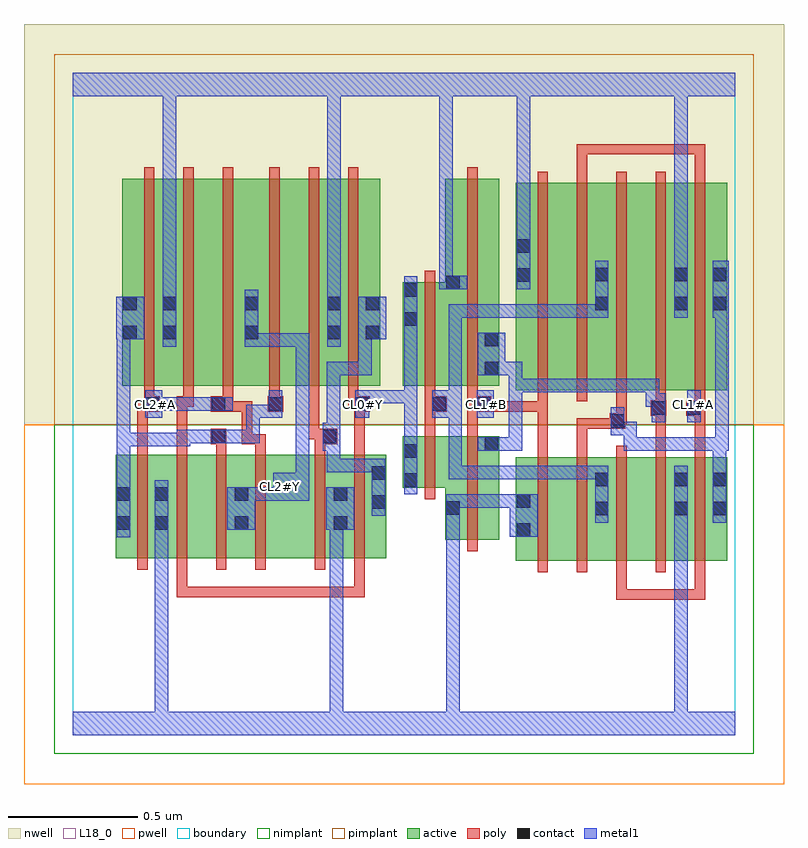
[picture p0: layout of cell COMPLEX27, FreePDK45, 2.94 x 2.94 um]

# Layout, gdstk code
import gdstk
lib = gdstk.Library(unit=1e-6, precision=1e-09)
def R(c, l, rs):  # rectangles x0, y0, x1, y1
    for r in rs: c.add(gdstk.rectangle(r[:2], r[2:], *l))
def A(c, l, x, y, w, h, nx, ny, dx, dy):  # array of equal rectangles
    R(c, l, [(x+i*dx, y+j*dy, x+i*dx+w, y+j*dy+h) for i in range(nx) for j in range(ny)])
active = (1, 0)
pwell = (2, 0)
nwell = (3, 0)
nimplant = (4, 0)
pimplant = (5, 0)
poly = (9, 0)
contact = (10, 0)
metal1 = (11, 0)
L18_0 = (18, 0)
boundary = (235, 0)

complex27 = lib.new_cell('COMPLEX27')
R(complex27, active, [(1.712,0.674,1.892,1.074), (1.892,0.674,2.074,1.074), (2.014,0.674,2.196,1.074), (2.196,0.674,2.38,1.074), (2.32,0.674,2.528,1.074), (0.166,0.684,0.374,1.084), (0.314,0.684,0.498,1.084), (0.498,0.684,0.682,1.084), (0.622,0.684,0.802,1.084), (0.802,0.684,1.064,1.084), (1.004,0.684,1.212,1.084), (0.166,0.756,0.226,1.084), (0.314,0.756,0.374,0.962), (0.622,0.756,0.682,0.962), (1.004,0.756,1.064,0.962), (1.152,0.756,1.212,1.084), (1.44,0.756,1.648,1.156), (1.44,0.756,1.5,0.956), (1.588,0.756,1.648,1.156), (1.712,0.756,1.772,0.948), (2.014,0.756,2.074,1.018), (2.32,0.756,2.38,1.018), (2.468,0.756,2.528,1.074), (1.276,0.956,1.336,1.156), (1.276,0.956,1.5,1.156), (1.712,1.334,1.892,2.134), (1.892,1.334,2.074,2.134), (2.014,1.334,2.074,2.044), (2.014,1.334,2.196,2.134), (2.196,1.334,2.38,2.134), (2.32,1.334,2.38,2.044), (2.32,1.334,2.528,2.134), (2.468,1.334,2.528,2.044), (0.192,1.35,0.252,2.044), (0.192,1.35,0.404,2.15), (0.344,1.35,0.524,2.15), (0.344,1.35,0.404,2.044), (0.524,1.35,0.72,2.15), (0.66,1.35,0.72,2.044), (0.66,1.35,0.856,2.15), (0.856,1.35,1.04,2.15), (0.98,1.35,1.188,2.15), (0.98,1.35,1.04,2.044), (1.128,1.35,1.188,2.044), (1.276,1.35,1.336,1.75), (1.276,1.35,1.5,1.75), (1.44,1.35,1.648,2.15), (1.44,1.35,1.5,1.78), (1.588,1.35,1.648,2.044), (1.712,1.452,1.772,2.044)])
R(complex27, pwell, [(-0.188,-0.188,2.748,1.2)])
R(complex27, nwell, [(-0.188,1.2,2.748,2.748)])
R(complex27, nimplant, [(-0.072,-0.072,2.632,1.2)])
R(complex27, pimplant, [(-0.072,1.2,2.632,2.632)])
A(complex27, poly, 1.796, 0.63, 0.04, 0.488, 5, 1, 0.152, 0)
A(complex27, poly, 0.25, 0.64, 0.04, 0.488, 4, 1, 0.152, 0)
A(complex27, poly, 0.276, 1.27, 0.04, 0.076, 3, 1, 0.152, 0)
A(complex27, poly, 1.796, 1.29, 0.04, 0.888, 5, 1, 0.152, 0)
A(complex27, poly, 0.276, 1.306, 0.04, 0.888, 3, 1, 0.152, 0)
A(complex27, poly, 0.76, 1.306, 0.04, 0.888, 3, 1, 0.152, 0)
R(complex27, poly, [(2.1,0.524,2.14,0.67), (2.1,0.524,2.14,0.564), (2.1,0.524,2.246,0.564), (2.206,0.524,2.246,0.564), (2.206,0.524,2.246,0.564), (2.206,0.524,2.246,0.564), (2.206,0.524,2.444,0.564), (2.404,0.524,2.444,0.67), (2.404,0.524,2.444,0.564), (2.404,0.524,2.444,0.564), (2.404,0.524,2.444,0.564), (0.402,0.534,0.442,0.68), (0.402,0.534,0.442,0.574), (0.402,0.534,0.442,0.574), (0.402,0.534,0.442,0.574), (0.402,0.534,0.62,0.574), (0.58,0.534,0.62,0.574), (0.58,0.534,0.726,0.574), (0.686,0.534,0.726,0.574), (0.686,0.534,0.726,0.574), (0.686,0.534,0.726,0.574), (0.686,0.534,0.832,0.574), (0.792,0.534,0.832,0.574), (0.792,0.534,0.832,0.574), (0.792,0.534,0.832,0.574), (0.792,0.534,1.128,0.574), (1.088,0.534,1.128,0.68), (1.088,0.534,1.128,0.574), (1.088,0.534,1.128,0.574), (1.088,0.534,1.128,0.574), (0.936,0.64,0.976,1.128), (1.088,0.64,1.128,1.128), (1.524,0.712,1.564,1.2), (1.36,0.912,1.4,1.2), (1.796,1.078,1.836,1.29), (1.948,1.078,1.988,1.224), (2.252,1.078,2.292,1.274), (2.404,1.078,2.444,1.274), (0.25,1.088,0.29,1.29), (0.402,1.088,0.442,1.31), (0.554,1.088,0.594,1.164), (0.706,1.088,0.746,1.164), (0.936,1.088,0.976,1.164), (1.088,1.088,1.128,1.29), (0.534,1.124,0.594,1.184), (0.654,1.124,0.694,1.164), (0.654,1.124,0.746,1.164), (0.654,1.124,0.694,1.29), (0.706,1.124,0.746,1.164), (0.936,1.124,1.022,1.184), (0.912,1.144,0.976,1.184), (0.912,1.144,0.952,1.346), (0.936,1.144,0.976,1.184), (1.36,1.16,1.4,1.29), (1.524,1.16,1.564,1.29), (1.948,1.184,1.988,1.224), (1.948,1.184,2.094,1.224), (2.054,1.184,2.094,1.224), (2.054,1.184,2.114,1.224), (2.074,1.184,2.134,1.244), (2.094,1.204,2.134,1.244), (2.094,1.204,2.14,1.244), (2.1,1.204,2.14,1.33), (2.234,1.234,2.294,1.294), (2.252,1.234,2.292,1.274), (2.252,1.234,2.292,1.274), (2.37,1.234,2.444,1.294), (2.404,1.234,2.444,1.274), (2.404,1.234,2.444,1.274), (0.25,1.25,0.316,1.29), (0.276,1.25,0.316,1.29), (0.276,1.25,0.336,1.31), (0.534,1.25,0.62,1.31), (0.58,1.25,0.694,1.29), (0.654,1.25,0.694,1.29), (0.754,1.25,0.814,1.31), (1.088,1.25,1.148,1.31), (1.36,1.25,1.446,1.31), (1.524,1.25,1.618,1.31), (1.578,1.25,1.618,1.29), (1.578,1.25,1.618,1.29), (1.578,1.25,1.836,1.29), (1.796,1.25,1.836,1.29), (1.796,1.25,1.836,1.29), (1.796,1.25,1.836,1.29), (1.796,1.25,1.836,1.29), (1.796,1.25,1.836,1.29), (1.796,1.25,1.836,1.33), (2.252,1.254,2.292,1.33), (2.404,1.254,2.444,1.33), (0.402,1.27,0.468,1.31), (0.428,1.27,0.468,1.31), (0.428,1.27,0.468,1.31), (0.76,1.27,0.8,1.346), (1.064,1.27,1.104,1.346), (1.064,1.27,1.128,1.31), (1.088,1.27,1.128,1.31), (1.36,1.27,1.4,1.31), (1.36,1.27,1.4,1.31), (1.36,1.27,1.4,1.346), (1.524,1.27,1.564,1.31), (1.524,1.27,1.564,1.31), (1.524,1.27,1.564,1.346), (1.36,1.306,1.4,1.794), (1.524,1.306,1.564,2.194), (1.948,2.138,1.988,2.284), (2.404,2.138,2.444,2.284), (1.948,2.244,1.988,2.284), (1.948,2.244,2.094,2.284), (2.054,2.244,2.094,2.284), (2.054,2.244,2.094,2.284), (2.054,2.244,2.094,2.284), (2.054,2.244,2.304,2.284), (2.264,2.244,2.304,2.284), (2.264,2.244,2.304,2.284), (2.264,2.244,2.304,2.284), (2.264,2.244,2.444,2.284), (2.404,2.244,2.444,2.284), (2.404,2.244,2.444,2.284), (2.404,2.244,2.444,2.284)])
R(complex27, contact, [(1.716,0.768,1.768,0.82), (0.17,0.794,0.222,0.846), (0.318,0.794,0.37,0.846), (0.626,0.794,0.678,0.846), (1.008,0.794,1.06,0.846), (2.018,0.85,2.07,0.902), (2.324,0.85,2.376,0.902), (2.472,0.85,2.524,0.902), (1.444,0.852,1.496,0.904), (1.156,0.876,1.208,0.928), (1.716,0.88,1.768,0.932), (0.17,0.906,0.222,0.958), (0.318,0.906,0.37,0.958), (0.626,0.906,0.678,0.958), (1.008,0.906,1.06,0.958), (1.28,0.96,1.332,1.012), (2.018,0.962,2.07,1.014), (2.324,0.962,2.376,1.014), (2.472,0.962,2.524,1.014), (1.156,0.988,1.208,1.04), (1.28,1.072,1.332,1.124), (1.592,1.1,1.644,1.152), (0.538,1.128,0.59,1.18), (0.966,1.128,1.018,1.18), (2.078,1.188,2.13,1.24), (2.238,1.238,2.29,1.29), (2.374,1.238,2.426,1.29), (0.28,1.254,0.332,1.306), (0.538,1.254,0.59,1.306), (0.758,1.254,0.81,1.306), (1.092,1.254,1.144,1.306), (1.39,1.254,1.442,1.306), (1.562,1.254,1.614,1.306), (1.592,1.392,1.644,1.444), (1.592,1.504,1.644,1.556), (0.196,1.53,0.248,1.582), (0.348,1.53,0.4,1.582), (0.664,1.53,0.716,1.582), (0.984,1.53,1.036,1.582), (1.132,1.53,1.184,1.582), (1.28,1.582,1.332,1.634), (0.196,1.642,0.248,1.694), (0.348,1.642,0.4,1.694), (0.664,1.642,0.716,1.694), (0.984,1.642,1.036,1.694), (1.132,1.642,1.184,1.694), (2.018,1.642,2.07,1.694), (2.324,1.642,2.376,1.694), (2.472,1.642,2.524,1.694), (1.28,1.694,1.332,1.746), (1.444,1.724,1.496,1.776), (1.716,1.752,1.768,1.804), (2.018,1.754,2.07,1.806), (2.324,1.754,2.376,1.806), (2.472,1.754,2.524,1.806), (1.716,1.864,1.768,1.916)])
R(complex27, metal1, [(0,0,2.56,0.092), (0.318,0.04,0.37,0.818), (0.994,0.04,1.046,0.092), (0.994,0.04,1.046,0.092), (0.994,0.04,1.046,0.092), (0.994,0.04,1.046,0.092), (0.994,0.04,1.046,0.092), (0.994,0.04,1.046,0.092), (0.994,0.04,1.046,0.092), (0.994,0.04,1.046,0.092), (0.994,0.04,1.046,0.092), (0.994,0.04,1.046,0.092), (0.994,0.04,1.046,0.092), (0.994,0.04,1.046,0.092), (0.994,0.04,1.046,0.846), (1.444,0.04,1.496,0.092), (1.444,0.04,1.496,0.092), (1.444,0.04,1.496,0.092), (1.444,0.04,1.496,0.092), (1.444,0.04,1.496,0.092), (1.444,0.04,1.496,0.092), (1.444,0.04,1.496,0.092), (1.444,0.04,1.496,0.092), (1.444,0.04,1.496,0.092), (1.444,0.04,1.496,0.092), (1.444,0.04,1.496,0.876), (2.324,0.04,2.376,0.092), (2.324,0.04,2.376,0.092), (2.324,0.04,2.376,0.092), (2.324,0.04,2.376,0.092), (2.324,0.04,2.376,0.092), (2.324,0.04,2.376,0.092), (2.324,0.04,2.376,0.092), (2.324,0.04,2.376,0.092), (2.324,0.04,2.376,0.874), (0.17,0.766,0.222,0.986), (0.318,0.766,0.37,0.818), (0.318,0.766,0.37,0.818), (0.318,0.766,0.37,0.818), (0.318,0.766,0.37,0.818), (0.318,0.766,0.37,0.818), (0.318,0.766,0.37,0.818), (0.318,0.766,0.37,0.818), (0.318,0.766,0.37,0.818), (0.318,0.766,0.37,0.818), (0.318,0.766,0.37,0.818), (0.318,0.766,0.37,0.818), (0.318,0.766,0.37,0.818), (0.318,0.766,0.37,0.986), (1.688,0.768,1.796,0.932), (0.598,0.794,0.706,0.958), (0.98,0.794,1.088,0.958), (2.018,0.822,2.07,1.042), (2.324,0.822,2.376,0.874), (2.324,0.822,2.376,0.874), (2.324,0.822,2.376,0.874), (2.324,0.822,2.376,0.874), (2.324,0.822,2.376,1.042), (2.472,0.822,2.524,1.042), (1.444,0.824,1.496,0.876), (1.444,0.824,1.496,0.876), (1.444,0.824,1.496,0.932), (1.156,0.848,1.208,1.068), (1.444,0.88,1.626,0.932), (1.574,0.88,1.626,0.932), (1.574,0.88,1.74,0.932), (1.688,0.88,1.74,0.932), (1.688,0.88,1.74,0.932), (0.654,0.906,0.832,0.958), (0.774,0.906,0.914,1.014), (0.78,0.906,0.832,0.958), (0.78,0.906,0.832,0.958), (0.78,0.906,0.832,0.958), (0.78,0.906,0.832,0.958), (1.28,0.932,1.332,1.152), (0.17,0.934,0.222,1.168), (0.862,0.962,0.914,1.014), (0.862,0.962,0.914,1.014), (0.862,0.962,0.914,1.554), (1.452,0.99,1.504,1.042), (1.452,0.99,1.504,1.334), (1.452,0.99,1.626,1.042), (1.574,0.99,1.626,1.042), (1.574,0.99,1.626,1.042), (1.574,0.99,1.626,1.042), (1.574,0.99,1.85,1.042), (1.798,0.99,1.85,1.042), (1.798,0.99,1.85,1.042), (1.798,0.99,1.85,1.042), (1.798,0.99,1.85,1.042), (1.798,0.99,1.85,1.042), (1.798,0.99,1.96,1.042), (1.908,0.99,1.96,1.042), (1.908,0.99,1.96,1.042), (1.908,0.99,1.96,1.042), (1.908,0.99,2.07,1.042), (2.472,0.99,2.524,1.152), (0.982,1.016,1.034,1.068), (0.982,1.016,1.208,1.068), (0.982,1.016,1.034,1.152), (1.156,1.016,1.208,1.068), (1.156,1.016,1.208,1.068), (0.966,1.1,1.018,1.208), (0.966,1.1,1.034,1.152), (0.982,1.1,1.034,1.152), (0.982,1.1,1.034,1.444), (1.28,1.1,1.332,1.334), (1.564,1.1,1.736,1.152), (1.684,1.1,1.736,1.152), (1.684,1.1,1.736,1.152), (1.684,1.1,1.736,1.444), (2.128,1.1,2.18,1.212), (2.128,1.1,2.24,1.152), (2.188,1.1,2.24,1.152), (2.188,1.1,2.414,1.152), (2.362,1.1,2.414,1.152), (2.362,1.1,2.414,1.152), (2.362,1.1,2.414,1.152), (2.362,1.1,2.524,1.152), (2.472,1.1,2.534,1.152), (2.482,1.1,2.534,1.666), (2.482,1.1,2.534,1.152), (2.482,1.1,2.534,1.152), (0.17,1.116,0.222,1.168), (0.17,1.116,0.332,1.168), (0.17,1.116,0.222,1.582), (0.28,1.116,0.332,1.168), (0.28,1.116,0.332,1.168), (0.28,1.116,0.332,1.168), (0.28,1.116,0.454,1.168), (0.402,1.116,0.454,1.18), (0.402,1.128,0.54,1.18), (0.488,1.128,0.54,1.18), (0.488,1.128,0.562,1.18), (0.51,1.128,0.618,1.18), (0.566,1.128,0.722,1.18), (0.67,1.128,0.722,1.18), (0.67,1.128,0.722,1.278), (2.078,1.16,2.13,1.268), (2.078,1.16,2.18,1.212), (2.238,1.21,2.29,1.322), (2.374,1.21,2.426,1.334), (0.28,1.226,0.346,1.334), (0.67,1.226,0.722,1.278), (0.67,1.226,0.81,1.278), (0.758,1.226,0.81,1.334), (1.092,1.226,1.146,1.334), (1.39,1.226,1.466,1.334), (1.562,1.226,1.626,1.334), (0.294,1.254,0.346,1.306), (0.294,1.254,0.346,1.306), (0.294,1.254,0.454,1.306), (0.402,1.254,0.454,1.306), (0.402,1.254,0.54,1.306), (0.488,1.254,0.54,1.306), (0.488,1.254,0.562,1.306), (0.51,1.254,0.618,1.306), (2.214,1.27,2.29,1.322), (2.214,1.27,2.266,1.378), (1.094,1.282,1.332,1.334), (1.28,1.282,1.332,1.334), (1.28,1.282,1.332,1.334), (1.28,1.282,1.332,1.334), (1.28,1.282,1.332,1.334), (1.28,1.282,1.332,1.334), (1.28,1.282,1.332,1.606), (1.414,1.282,1.504,1.334), (1.452,1.282,1.504,1.334), (1.452,1.282,1.504,1.334), (1.452,1.282,1.504,1.334), (1.452,1.282,1.504,1.334), (1.452,1.282,1.504,1.334), (1.452,1.282,1.504,1.666), (1.684,1.326,1.85,1.378), (1.684,1.326,1.736,1.444), (1.798,1.326,1.85,1.378), (1.798,1.326,1.96,1.378), (1.908,1.326,1.96,1.378), (1.908,1.326,1.96,1.378), (1.908,1.326,1.96,1.378), (1.908,1.326,2.07,1.378), (2.018,1.326,2.07,1.378), (2.018,1.326,2.07,1.378), (2.018,1.326,2.07,1.378), (2.018,1.326,2.266,1.378), (0.982,1.392,1.034,1.444), (0.982,1.392,1.156,1.444), (1.104,1.392,1.156,1.444), (1.104,1.392,1.156,1.444), (1.104,1.392,1.156,1.444), (1.104,1.392,1.156,1.582), (1.564,1.392,1.672,1.556), (1.62,1.392,1.672,1.444), (1.62,1.392,1.736,1.444), (1.684,1.392,1.736,1.444), (0.348,1.502,0.4,1.722), (0.664,1.502,0.716,1.722), (0.664,1.502,0.728,1.554), (0.676,1.502,0.728,1.554), (0.676,1.502,0.914,1.554), (0.862,1.502,0.914,1.554), (0.984,1.502,1.036,1.722), (0.168,1.53,0.276,1.694), (0.17,1.53,0.222,1.582), (0.17,1.53,0.222,1.582), (1.104,1.53,1.212,1.694), (1.28,1.554,1.332,1.774), (1.452,1.614,1.504,1.666), (1.452,1.614,1.504,1.666), (1.452,1.614,1.504,1.666), (1.452,1.614,1.626,1.666), (1.574,1.614,1.626,1.666), (1.574,1.614,1.626,1.666), (1.574,1.614,1.626,1.666), (1.574,1.614,1.85,1.666), (1.798,1.614,1.85,1.666), (1.798,1.614,1.85,1.666), (1.798,1.614,1.85,1.666), (1.798,1.614,1.85,1.666), (1.798,1.614,1.85,1.666), (1.798,1.614,1.96,1.666), (1.908,1.614,1.96,1.666), (1.908,1.614,1.96,1.666), (1.908,1.614,1.96,1.666), (1.908,1.614,2.07,1.666), (2.018,1.614,2.07,1.834), (2.324,1.614,2.376,1.834), (2.472,1.614,2.534,1.834), (0.348,1.67,0.4,1.722), (0.348,1.67,0.4,1.722), (0.348,1.67,0.4,1.722), (0.348,1.67,0.4,1.722), (0.348,1.67,0.4,2.52), (0.984,1.67,1.036,1.722), (0.984,1.67,1.036,1.722), (0.984,1.67,1.036,1.722), (0.984,1.67,1.036,1.722), (0.984,1.67,1.036,1.722), (0.984,1.67,1.036,1.722), (0.984,1.67,1.036,2.52), (1.416,1.724,1.468,1.776), (1.416,1.724,1.468,1.776), (1.416,1.724,1.468,1.776), (1.416,1.724,1.468,1.776), (1.416,1.724,1.468,2.52), (1.416,1.724,1.524,1.776), (1.716,1.724,1.768,1.944), (2.324,1.782,2.376,2.52), (1.716,1.892,1.768,2.52), (0,2.468,2.56,2.56), (0.348,2.468,0.4,2.52), (0.348,2.468,0.4,2.52), (0.348,2.468,0.4,2.52), (0.348,2.468,0.4,2.52), (0.984,2.468,1.036,2.52), (0.984,2.468,1.036,2.52), (1.416,2.468,1.468,2.52), (1.416,2.468,1.468,2.52), (1.416,2.468,1.468,2.52), (1.416,2.468,1.468,2.52), (1.716,2.468,1.768,2.52), (1.716,2.468,1.768,2.52), (1.716,2.468,1.768,2.52), (1.716,2.468,1.768,2.52), (1.716,2.468,1.768,2.52), (1.716,2.468,1.768,2.52), (1.716,2.468,1.768,2.52), (1.716,2.468,1.768,2.52), (2.324,2.468,2.376,2.52), (2.324,2.468,2.376,2.52), (2.324,2.468,2.376,2.52), (2.324,2.468,2.376,2.52), (2.324,2.468,2.376,2.52), (2.324,2.468,2.376,2.52), (2.324,2.468,2.376,2.52), (2.324,2.468,2.376,2.52)])
R(complex27, L18_0, [(0,0,2.56,0.092), (0.318,0.04,0.37,0.818), (0.994,0.04,1.046,0.092), (0.994,0.04,1.046,0.092), (0.994,0.04,1.046,0.092), (0.994,0.04,1.046,0.092), (0.994,0.04,1.046,0.092), (0.994,0.04,1.046,0.092), (0.994,0.04,1.046,0.092), (0.994,0.04,1.046,0.092), (0.994,0.04,1.046,0.092), (0.994,0.04,1.046,0.092), (0.994,0.04,1.046,0.092), (0.994,0.04,1.046,0.092), (0.994,0.04,1.046,0.846), (1.444,0.04,1.496,0.092), (1.444,0.04,1.496,0.092), (1.444,0.04,1.496,0.092), (1.444,0.04,1.496,0.092), (1.444,0.04,1.496,0.092), (1.444,0.04,1.496,0.092), (1.444,0.04,1.496,0.092), (1.444,0.04,1.496,0.092), (1.444,0.04,1.496,0.092), (1.444,0.04,1.496,0.092), (1.444,0.04,1.496,0.876), (2.324,0.04,2.376,0.092), (2.324,0.04,2.376,0.092), (2.324,0.04,2.376,0.092), (2.324,0.04,2.376,0.092), (2.324,0.04,2.376,0.092), (2.324,0.04,2.376,0.092), (2.324,0.04,2.376,0.092), (2.324,0.04,2.376,0.092), (2.324,0.04,2.376,0.874), (0.318,0.766,0.37,0.818), (0.318,0.766,0.37,0.818), (0.318,0.766,0.37,0.818), (0.318,0.766,0.37,0.818), (0.318,0.766,0.37,0.818), (0.318,0.766,0.37,0.818), (0.318,0.766,0.37,0.818), (0.318,0.766,0.37,0.818), (0.318,0.766,0.37,0.818), (0.318,0.766,0.37,0.818), (0.318,0.766,0.37,0.818), (0.318,0.766,0.37,0.818), (0.318,0.766,0.37,0.986), (1.688,0.768,1.796,0.932), (0.598,0.794,0.706,0.958), (0.98,0.794,1.088,0.958), (2.018,0.822,2.07,1.042), (2.324,0.822,2.376,0.874), (2.324,0.822,2.376,0.874), (2.324,0.822,2.376,0.874), (2.324,0.822,2.376,0.874), (2.324,0.822,2.376,1.042), (1.444,0.824,1.496,0.876), (1.444,0.824,1.496,0.876), (1.444,0.824,1.496,0.932), (1.444,0.88,1.626,0.932), (1.574,0.88,1.626,0.932), (1.574,0.88,1.74,0.932), (1.688,0.88,1.74,0.932), (1.688,0.88,1.74,0.932), (0.654,0.906,0.832,0.958), (0.774,0.906,0.914,1.014), (0.78,0.906,0.832,0.958), (0.78,0.906,0.832,0.958), (0.78,0.906,0.832,0.958), (0.78,0.906,0.832,0.958), (1.28,0.932,1.332,1.152), (0.774,0.934,0.826,0.986), (0.862,0.962,0.914,1.014), (0.862,0.962,0.914,1.014), (0.862,0.962,0.914,1.554), (1.452,0.99,1.504,1.042), (1.452,0.99,1.504,1.334), (1.452,0.99,1.626,1.042), (1.574,0.99,1.626,1.042), (1.574,0.99,1.626,1.042), (1.574,0.99,1.626,1.042), (1.574,0.99,1.85,1.042), (1.798,0.99,1.85,1.042), (1.798,0.99,1.85,1.042), (1.798,0.99,1.85,1.042), (1.798,0.99,1.85,1.042), (1.798,0.99,1.85,1.042), (1.798,0.99,1.96,1.042), (1.908,0.99,1.96,1.042), (1.908,0.99,1.96,1.042), (1.908,0.99,1.96,1.042), (1.908,0.99,2.07,1.042), (1.28,1.1,1.332,1.334), (2.374,1.21,2.426,1.334), (0.28,1.226,0.346,1.334), (1.092,1.226,1.146,1.334), (1.39,1.226,1.466,1.334), (1.562,1.226,1.626,1.334), (0.294,1.254,0.346,1.306), (0.294,1.254,0.346,1.306), (0.294,1.254,0.346,1.306), (0.294,1.254,0.454,1.306), (0.402,1.254,0.454,1.306), (0.402,1.254,0.54,1.306), (0.488,1.254,0.54,1.306), (0.488,1.254,0.562,1.306), (0.51,1.254,0.618,1.306), (1.094,1.254,1.146,1.306), (1.414,1.254,1.466,1.306), (1.574,1.254,1.626,1.306), (2.374,1.254,2.426,1.306), (1.094,1.282,1.332,1.334), (1.28,1.282,1.332,1.334), (1.28,1.282,1.332,1.334), (1.28,1.282,1.332,1.334), (1.28,1.282,1.332,1.334), (1.28,1.282,1.332,1.334), (1.28,1.282,1.332,1.606), (1.414,1.282,1.504,1.334), (1.452,1.282,1.504,1.334), (1.452,1.282,1.504,1.334), (1.452,1.282,1.504,1.334), (1.452,1.282,1.504,1.334), (1.452,1.282,1.504,1.334), (1.452,1.282,1.504,1.666), (0.348,1.502,0.4,1.722), (0.664,1.502,0.716,1.722), (0.664,1.502,0.728,1.554), (0.676,1.502,0.728,1.554), (0.676,1.502,0.914,1.554), (0.862,1.502,0.914,1.554), (0.984,1.502,1.036,1.722), (1.28,1.554,1.332,1.774), (1.452,1.614,1.504,1.666), (1.452,1.614,1.504,1.666), (1.452,1.614,1.504,1.666), (1.452,1.614,1.626,1.666), (1.574,1.614,1.626,1.666), (1.574,1.614,1.626,1.666), (1.574,1.614,1.626,1.666), (1.574,1.614,1.85,1.666), (1.798,1.614,1.85,1.666), (1.798,1.614,1.85,1.666), (1.798,1.614,1.85,1.666), (1.798,1.614,1.85,1.666), (1.798,1.614,1.85,1.666), (1.798,1.614,1.96,1.666), (1.908,1.614,1.96,1.666), (1.908,1.614,1.96,1.666), (1.908,1.614,1.96,1.666), (1.908,1.614,2.07,1.666), (2.018,1.614,2.07,1.834), (2.324,1.614,2.376,1.834), (0.348,1.67,0.4,1.722), (0.348,1.67,0.4,1.722), (0.348,1.67,0.4,1.722), (0.348,1.67,0.4,1.722), (0.348,1.67,0.4,2.52), (0.984,1.67,1.036,1.722), (0.984,1.67,1.036,1.722), (0.984,1.67,1.036,1.722), (0.984,1.67,1.036,1.722), (0.984,1.67,1.036,1.722), (0.984,1.67,1.036,1.722), (0.984,1.67,1.036,2.52), (1.416,1.724,1.468,1.776), (1.416,1.724,1.468,1.776), (1.416,1.724,1.468,1.776), (1.416,1.724,1.468,1.776), (1.416,1.724,1.524,1.776), (1.416,1.724,1.468,2.52), (1.716,1.724,1.768,1.944), (2.324,1.782,2.376,2.52), (1.716,1.892,1.768,2.52), (0,2.468,2.56,2.56), (0.348,2.468,0.4,2.52), (0.348,2.468,0.4,2.52), (0.348,2.468,0.4,2.52), (0.348,2.468,0.4,2.52), (0.984,2.468,1.036,2.52), (0.984,2.468,1.036,2.52), (1.416,2.468,1.468,2.52), (1.416,2.468,1.468,2.52), (1.416,2.468,1.468,2.52), (1.416,2.468,1.468,2.52), (1.716,2.468,1.768,2.52), (1.716,2.468,1.768,2.52), (1.716,2.468,1.768,2.52), (1.716,2.468,1.768,2.52), (1.716,2.468,1.768,2.52), (1.716,2.468,1.768,2.52), (1.716,2.468,1.768,2.52), (1.716,2.468,1.768,2.52), (2.324,2.468,2.376,2.52), (2.324,2.468,2.376,2.52), (2.324,2.468,2.376,2.52), (2.324,2.468,2.376,2.52), (2.324,2.468,2.376,2.52), (2.324,2.468,2.376,2.52), (2.324,2.468,2.376,2.52), (2.324,2.468,2.376,2.52)])
R(complex27, boundary, [(0,0,2.56,2.56)])
complex27.add(gdstk.Label('CL0#Y', (1.12,1.28), layer=11, texttype=0))
complex27.add(gdstk.Label('CL1#A', (2.4,1.28), layer=11, texttype=0))
complex27.add(gdstk.Label('CL1#B', (1.6,1.28), layer=11, texttype=0))
complex27.add(gdstk.Label('CL1#Y', (1.44,1.28), layer=11, texttype=0))
complex27.add(gdstk.Label('CL2#A', (0.32,1.28), layer=11, texttype=0))
complex27.add(gdstk.Label('CL2#Y', (0.8,0.96), layer=11, texttype=0))

lib.write_gds('COMPLEX27.gds')
